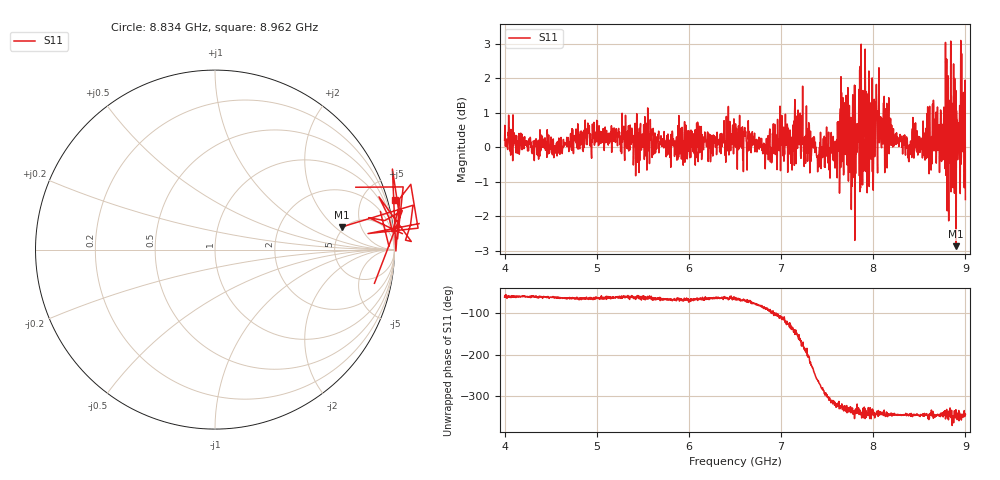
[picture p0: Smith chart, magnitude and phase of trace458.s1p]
! Created with skrf 1.8.0 (http://scikit-rf.org).
# Hz S RI R 50.0
!freq ReS11 ImS11
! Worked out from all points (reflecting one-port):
!   1601 points, 4 GHz to 9 GHz, reference 50 ohm
!   lowest |S11| = -2.9 dB at 8.9 GHz (marker M1), VSWR 6.12, Z = 238 + j125 ohm
!   phase of S11 starts at -60 deg and turns -285 deg over the sweep
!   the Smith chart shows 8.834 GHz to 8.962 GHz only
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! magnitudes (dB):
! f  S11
! 4 GHz  0.2
! 4.625 GHz  -0.2
! 4.894 GHz  0.3
! 5.25 GHz  0.1
! 5.875 GHz  -0.1
! 6.5 GHz  0.2
! 7.125 GHz  0.2
! 7.209 GHz  0.8
! 7.262 GHz  -0.2
! 7.4 GHz  -0.3
! 7.584 GHz  -0.6
! 7.669 GHz  1.1
! 7.75 GHz  -0.7
! 7.775 GHz  0.8
! 7.891 GHz  -0.6
! 7.909 GHz  1.2
! 7.928 GHz  1.0
! 7.981 GHz  0.4
! 8.05 GHz  0.3
! 8.375 GHz  0.0
! 8.656 GHz  1.2
! 8.7 GHz  0.1
! 8.788 GHz  -0.8
! 8.812 GHz  2.1
! 8.866 GHz  -1.2
! 8.9 GHz  -2.9
! 8.972 GHz  0.7
! 9 GHz  -1.5
